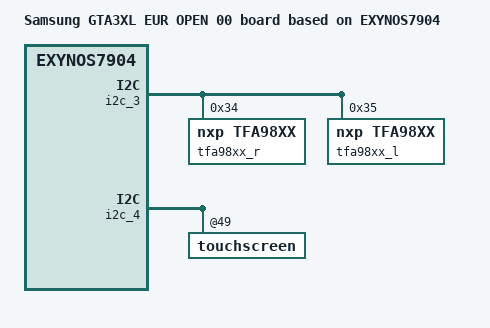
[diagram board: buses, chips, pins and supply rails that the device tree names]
/*
 * SAMSUNG EXYNOS7904 board device tree source

 *
 * Copyright (c) 2018 Samsung Electronics Co., Ltd.
 *		http://www.samsung.com
 *
 * This program is free software; you can redistribute it and/or modify
 * it under the terms of the GNU General Public License version 2 as
 * published by the Free Software Foundation.
*/

/dts-v1/;
/plugin/;

#include "exynos7904-gta3xl_common.dtsi"
#include "exynos7904-gta3xl_eur_open_gpio_00.dtsi"


/ {
	compatible = "samsung,GTA3XL EUR OPEN 00", "samsung,EXYNOS7904";

	dtbo-hw_rev = <0>;
    dtbo-hw_rev_end = <0>;


	fragment@model {
		target-path = "/";
		__overlay__ {
			#address-cells = <2>;
			#size-cells = <1>;

			model = "Samsung GTA3XL EUR OPEN 00 board based on EXYNOS7904";

			sound {
				mixer-paths = "mixer_paths_rev02.xml";
				samsung,codec = <&abox &tfa98xx_r &tfa98xx_l>;

				samsung,routing =  "VOUTPUT", "ABOX UAIF0 Playback",
						 "VOUTPUTCALL", "ABOX UAIF2 Playback",
						 "ABOX UAIF2 Capture", "VINPUTCALL",
						 "ABOX SPEEDY Capture", "VINPUTFM",
						 // "SPK", "ABOX UAIF3 Playback",
						 // "ABOX UAIF3 Capture", "VI";
						 "SPK", "SPKR AIF Playback-8-34",
						 "SPKR AIF Playback-8-34", "ABOX UAIF3 Playback",
						 "ABOX UAIF3 Capture", "SPKR AIF Capture-8-34",
						 "SPK", "SPKL AIF Playback-8-35",
						 "SPKL AIF Playback-8-35", "ABOX UAIF3 Playback",
						 "ABOX UAIF3 Capture", "SPKL AIF Capture-8-35";
				uaif@3 {
					cpu {
						sound-dai = <&abox 16>;
					};
					codec {
						sound-dai = <&tfa98xx_r 0 &tfa98xx_l 0>;
					};
				};
			};

		}; /* end of __overlay__ */
	}; /* end of fragment */
}; /* end of root */

&i2c_3 {

	/delete-node/ sma1301@1e;
	/delete-node/ sma1301@3e;

	tfa98xx_r: tfa98xx@34 {
		compatible = "nxp,tfa98xx";
		#sound-dai-cells = <1>;
		reg = <0x34>;
	};
	tfa98xx_l: tfa98xx@35 {
		compatible = "nxp,tfa98xx";
		#sound-dai-cells = <1>;
		reg = <0x35>;
	};
};

&i2c_4 {
	touchscreen@49 {
		stm,firmware_name = "tsp_stm/fts1ba90a_gta3_00.fw";
	};
};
